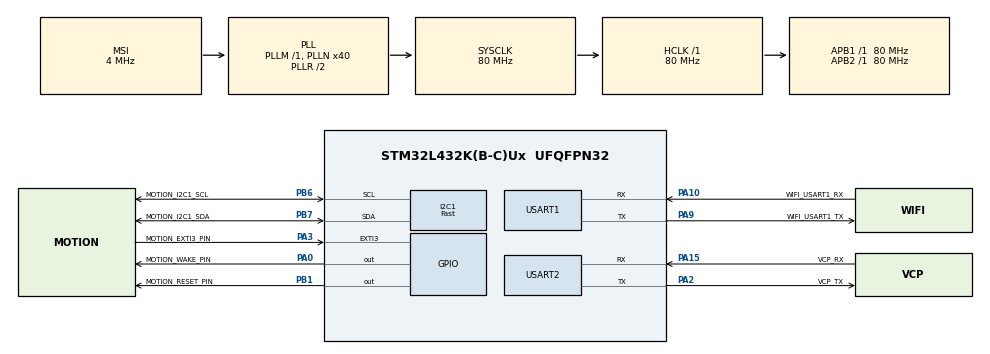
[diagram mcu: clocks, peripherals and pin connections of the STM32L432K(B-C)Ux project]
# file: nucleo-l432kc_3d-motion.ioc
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FREERTOS.Tasks01=getDataTask,24,512,StartGetDataTask,Default,NULL,Dynamic,NULL,NULL
FREERTOS.Timers01=timeBaseTimer,timeBaseCallback,osTimerPeriodic,Default,NULL,Dynamic,NULL
FREERTOS.configMINIMAL_STACK_SIZE=256
FREERTOS.configTOTAL_HEAP_SIZE=10000
FREERTOS.configUSE_NEWLIB_REENTRANT=1
I2C1.CustomTiming=Disabled
I2C1.I2C_Speed_Mode=I2C_Fast
I2C1.NoStretchMode=I2C_NOSTRETCH_DISABLE
I2C1.OwnAddress=0
I2C1.Timing=0x00702991
Mcu.Family=STM32L4
Mcu.Name=STM32L432K(B-C)Ux
Mcu.Package=UFQFPN32
NVIC.EXTI3_IRQn=true\:5\:0\:false\:false\:true\:true\:true\:true\:true
NVIC.PriorityGroup=NVIC_PRIORITYGROUP_4
NVIC.TIM1_UP_TIM16_IRQn=true\:15\:0\:false\:false\:true\:false\:false\:true\:true
NVIC.TimeBase=TIM1_UP_TIM16_IRQn
NVIC.TimeBaseIP=TIM16
PA0.GPIO_Label=MOTION_WAKE_PIN
PA0.GPIO_PuPd=GPIO_PULLUP
PA0.GPIO_Speed=GPIO_SPEED_FREQ_VERY_HIGH
PA0.PinState=GPIO_PIN_SET
PA0.Signal=GPIO_Output
PA10.GPIO_Label=WIFI_USART1_RX
PA10.Mode=Asynchronous
PA10.Signal=USART1_RX
PA13\ (JTMS-SWDIO).GPIO_Label=SWDIO
PA13\ (JTMS-SWDIO).Mode=Serial_Wire
PA13\ (JTMS-SWDIO).Signal=SYS_JTMS-SWDIO
PA14\ (JTCK-SWCLK).GPIO_Label=SWCLK
PA14\ (JTCK-SWCLK).Mode=Serial_Wire
PA14\ (JTCK-SWCLK).Signal=SYS_JTCK-SWCLK
PA15\ (JTDI).GPIO_Label=VCP_RX
PA15\ (JTDI).Mode=Asynchronous
PA15\ (JTDI).Signal=USART2_RX
PA2.GPIO_Label=VCP_TX
PA2.Mode=Asynchronous
PA2.Signal=USART2_TX
PA3.GPIO_Label=MOTION_EXTI3_PIN
PA3.GPIO_ModeDefaultEXTI=GPIO_MODE_IT_RISING_FALLING
PA3.GPIO_PuPd=GPIO_PULLUP
PA3.Signal=GPXTI3
PA9.GPIO_Label=WIFI_USART1_TX
PA9.Mode=Asynchronous
PA9.Signal=USART1_TX
PB1.GPIO_Label=MOTION_RESET_PIN
PB1.GPIO_PuPd=GPIO_PULLUP
PB1.GPIO_Speed=GPIO_SPEED_FREQ_VERY_HIGH
PB1.PinState=GPIO_PIN_SET
PB1.Signal=GPIO_Output
PB6.GPIO_FM6=SYSCFG_FASTMODEPLUS_PB6
PB6.GPIO_Label=MOTION_I2C1_SCL
PB6.Mode=I2C
PB6.Signal=I2C1_SCL
PB7.GPIO_FM7=SYSCFG_FASTMODEPLUS_PB7
PB7.GPIO_Label=MOTION_I2C1_SDA
PB7.Mode=I2C
PB7.Signal=I2C1_SDA
PC14-OSC32_IN\ (PC14).Mode=LSE-External-Oscillator
PC14-OSC32_IN\ (PC14).Signal=RCC_OSC32_IN
PC15-OSC32_OUT\ (PC15).Mode=LSE-External-Oscillator
PC15-OSC32_OUT\ (PC15).Signal=RCC_OSC32_OUT
ProjectManager.HeapSize=0x200
ProjectManager.StackSize=0x400
ProjectManager.TargetToolchain=STM32CubeIDE
RCC.AHBFreq_Value=80000000
RCC.APB1Freq_Value=80000000
RCC.APB1TimFreq_Value=80000000
RCC.APB2Freq_Value=80000000
RCC.APB2TimFreq_Value=80000000
RCC.CortexFreq_Value=80000000
RCC.HCLKFreq_Value=80000000
RCC.HSE_VALUE=8000000
RCC.HSI16_VALUE=16000000
RCC.HSI48_VALUE=48000000
RCC.HSI_VALUE=16000000
RCC.MSI_VALUE=4000000
RCC.PLLMUL=RCC_PLLMUL_4
RCC.PLLN=40
RCC.SYSCLKFreq_VALUE=80000000
RCC.SYSCLKSource=RCC_SYSCLKSOURCE_PLLCLK
RCC.VCOOutputFreq_Value=160000000
USART1.VirtualMode-Asynchronous=VM_ASYNC
USART2.VirtualMode-Asynchronous=VM_ASYNC
VP_FREERTOS_VS_CMSIS_V2.Mode=CMSIS_V2
VP_SYS_VS_tim16.Mode=TIM16
board=NUCLEO-L432KC

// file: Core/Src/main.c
/* USER CODE BEGIN Header */
/**
  ******************************************************************************
  * @file           : main.c
  * @brief          : Main program body
  ******************************************************************************
  * @attention
  *
  * Copyright (c) 2023 STMicroelectronics.
  * All rights reserved.
  *
  * This software is licensed under terms that can be found in the LICENSE file
  * in the root directory of this software component.
  * If no LICENSE file comes with this software, it is provided AS-IS.
  *
  ******************************************************************************
  */
/* USER CODE END Header */
#include "main.h"
#include "cmsis_os.h"
#include "i2c.h"
#include "usart.h"
#include "gpio.h"

/* USER CODE BEGIN Includes */
#include "retarget.h"
#include "app.h"
#include "../SYSVIEW/SEGGER_SYSVIEW.h"
/* USER CODE END Includes */

void SystemClock_Config(void);
void MX_FREERTOS_Init(void);

int main(void)
{
  /* USER CODE BEGIN 1 */

	// SEGGER_SYSVIEW_Conf();

	/* USER CODE END 1 */

  /* MCU Configuration--------------------------------------------------------*/

  /* Reset of all peripherals, Initializes the Flash interface and the Systick. */
  HAL_Init();

  /* Configure the system clock */
  SystemClock_Config();

  /* Initialize all configured peripherals */
  MX_GPIO_Init();
  MX_USART2_UART_Init();
  MX_I2C1_Init();
  MX_USART1_UART_Init();

  /* Init scheduler */
  osKernelInitialize();  /* Call init function for freertos objects (in freertos.c) */
  MX_FREERTOS_Init();

  /* Start scheduler */
  osKernelStart();
  /* We should never get here as control is now taken by the scheduler */
  /* Infinite loop */
  while (1)
  {

  }
}

void SystemClock_Config(void)
{
  RCC_OscInitTypeDef RCC_OscInitStruct = {0};
  RCC_ClkInitTypeDef RCC_ClkInitStruct = {0};

  /** Configure the main internal regulator output voltage
  */
  if (HAL_PWREx_ControlVoltageScaling(PWR_REGULATOR_VOLTAGE_SCALE1) != HAL_OK)
  {
    Error_Handler();
  }

  /** Configure LSE Drive Capability
  */
  HAL_PWR_EnableBkUpAccess();
  __HAL_RCC_LSEDRIVE_CONFIG(RCC_LSEDRIVE_LOW);

  /** Initializes the RCC Oscillators according to the specified parameters
  * in the RCC_OscInitTypeDef structure.
  */
  RCC_OscInitStruct.OscillatorType = RCC_OSCILLATORTYPE_LSE|RCC_OSCILLATORTYPE_MSI;
  RCC_OscInitStruct.LSEState = RCC_LSE_ON;
  RCC_OscInitStruct.MSIState = RCC_MSI_ON;
  RCC_OscInitStruct.MSICalibrationValue = 0;
  RCC_OscInitStruct.MSIClockRange = RCC_MSIRANGE_6;
  RCC_OscInitStruct.PLL.PLLState = RCC_PLL_ON;
  RCC_OscInitStruct.PLL.PLLSource = RCC_PLLSOURCE_MSI;
  RCC_OscInitStruct.PLL.PLLM = 1;
  RCC_OscInitStruct.PLL.PLLN = 40;
  RCC_OscInitStruct.PLL.PLLP = RCC_PLLP_DIV7;
  RCC_OscInitStruct.PLL.PLLQ = RCC_PLLQ_DIV2;
  RCC_OscInitStruct.PLL.PLLR = RCC_PLLR_DIV2;
  if (HAL_RCC_OscConfig(&RCC_OscInitStruct) != HAL_OK)
  {
    Error_Handler();
  }

  /** Initializes the CPU, AHB and APB buses clocks
  */
  RCC_ClkInitStruct.ClockType = RCC_CLOCKTYPE_HCLK|RCC_CLOCKTYPE_SYSCLK
                              |RCC_CLOCKTYPE_PCLK1|RCC_CLOCKTYPE_PCLK2;
  RCC_ClkInitStruct.SYSCLKSource = RCC_SYSCLKSOURCE_PLLCLK;
  RCC_ClkInitStruct.AHBCLKDivider = RCC_SYSCLK_DIV1;
  RCC_ClkInitStruct.APB1CLKDivider = RCC_HCLK_DIV1;
  RCC_ClkInitStruct.APB2CLKDivider = RCC_HCLK_DIV1;

  if (HAL_RCC_ClockConfig(&RCC_ClkInitStruct, FLASH_LATENCY_4) != HAL_OK)
  {
    Error_Handler();
  }

  /** Enable MSI Auto calibration
  */
  HAL_RCCEx_EnableMSIPLLMode();
}

void HAL_TIM_PeriodElapsedCallback(TIM_HandleTypeDef *htim)
{
  if (htim->Instance == TIM16) {
    HAL_IncTick();
  }
}

void Error_Handler(void)
{
  __disable_irq();
  while (1)
  {
  }
}

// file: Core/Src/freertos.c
/* USER CODE BEGIN Header */
/**
 ******************************************************************************
 * File Name          : freertos.c
 * Description        : Code for freertos applications
 ******************************************************************************
 * @attention
 *
 * Copyright (c) 2023 STMicroelectronics.
 * All rights reserved.
 *
 * This software is licensed under terms that can be found in the LICENSE file
 * in the root directory of this software component.
 * If no LICENSE file comes with this software, it is provided AS-IS.
 *
 ******************************************************************************
 */
/* USER CODE END Header */

#include "FreeRTOS.h"
#include "task.h"
#include "main.h"
#include "cmsis_os.h"

/* USER CODE BEGIN Variables */
extern volatile UINT32 I2C_TIMEOUT_50MS_CNTR;
extern volatile BOOL TIMER_10MS_FLG;

/* USER CODE END Variables */
/* Definitions for getDataTask */
osThreadId_t getDataTaskHandle;
const osThreadAttr_t getDataTask_attributes = {
  .name = "getDataTask",
  .stack_size = 512 * 4,
  .priority = (osPriority_t) osPriorityNormal,
};
/* Definitions for timeBaseTimer */
osTimerId_t timeBaseTimerHandle;
const osTimerAttr_t timeBaseTimer_attributes = {
  .name = "timeBaseTimer"
};

void StartGetDataTask(void *argument);
void timeBaseCallback(void *argument);

void MX_FREERTOS_Init(void); /* (MISRA C 2004 rule 8.1) */

void MX_FREERTOS_Init(void) {

  /* Create the timer(s) */
  /* creation of timeBaseTimer */
  timeBaseTimerHandle = osTimerNew(timeBaseCallback, osTimerPeriodic, NULL, &timeBaseTimer_attributes);

  /* Create the thread(s) */
  /* creation of getDataTask */
  getDataTaskHandle = osThreadNew(StartGetDataTask, NULL, &getDataTask_attributes);

}

void StartGetDataTask(void *argument)
{
  /* USER CODE BEGIN StartGetDataTask */
	size_t state = 0;

	printf("\r\n--3D-Motion-Click--\r\n");

	/* Send Reset Signal to the Module */
	Reset_signal();
	HAL_Delay(1000);

	/* Send Wake Signal to the Module */
	Wake_signal();
	HAL_Delay(1000);

	  HAL_NVIC_SetPriority(EXTI3_IRQn, 7, 0);
	  HAL_NVIC_EnableIRQ(EXTI3_IRQn);

	/* Initialize the Virtual Register Bank */
	while(VREG_init())
	{
		printf("Init-Error\r\n");
		Reset_signal();
		HAL_Delay(1000);
		Wake_signal();
		HAL_Delay(1000);
	};
	printf("Init-OK\r\n");

	/* Infinite loop */
	for (;;)
	{
		/* TODO: Connection to Module Works, but Data Retrieval does NOT */
		_gyro();
		HAL_Delay(100);

		/* TODO: Think of a nice way to store and transmit the data via the WIFI ESP */
		/* Option 1: Store the Data in a Ring Buffer, and other Task sends it via function Call to WiFi Library => N: Might miss some old Data due to Buffer Overflow*/
		/* Option 2: Simply Call the Transfer Function at the end of every new Data => N: Might miss some new data due to Blocking */
	}
  /* USER CODE END StartGetDataTask */
}

/* timeBaseCallback function */
void timeBaseCallback(void *argument)
{
  /* USER CODE BEGIN timeBaseCallback */
	TIMER_10MS_FLG = TRUE;
  /* USER CODE END timeBaseCallback */
}
